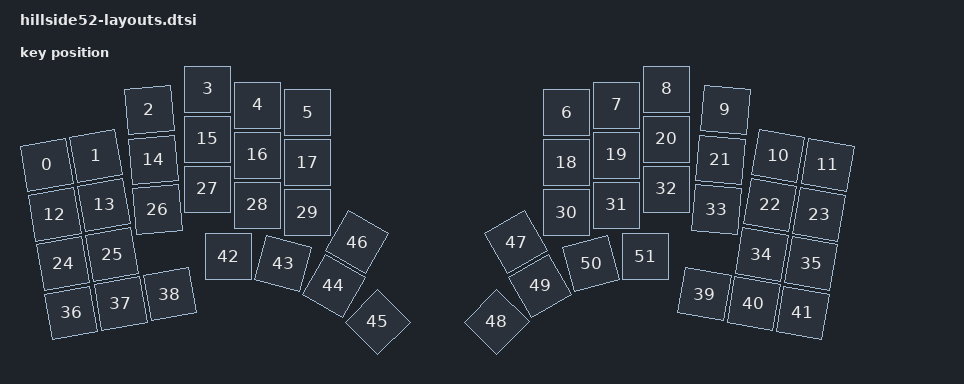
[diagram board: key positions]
#include <physical_layouts.dtsi>

// ========== 52 Key - 6 Column Layout ==========
/ {
    default_layout: default_layout {
        compatible = "zmk,physical-layout";
        display-name = "52 Key - 6 Column layout";
        transform = <&default_transform>;
        kscan = <&kscan0>;

        keys  //                     w   h    x    y     rot    rx    ry
            = <&key_physical_attrs 100 100    0  152 (-1000)    50   202>
            , <&key_physical_attrs 100 100   99  134 (-1000)   148   184>
            , <&key_physical_attrs 100 100  205   42  (-500)   255    92>
            , <&key_physical_attrs 100 100  322    0       0     0     0>
            , <&key_physical_attrs 100 100  422   32       0     0     0>
            , <&key_physical_attrs 100 100  522   47       0     0     0>
            , <&key_physical_attrs 100 100 1040   47       0     0     0>
            , <&key_physical_attrs 100 100 1140   32       0     0     0>
            , <&key_physical_attrs 100 100 1240    0       0     0     0>
            , <&key_physical_attrs 100 100 1357   42     500  1407    92>
            , <&key_physical_attrs 100 100 1463  134    1000  1513   184>
            , <&key_physical_attrs 100 100 1562  152    1000  1612   202>
            , <&key_physical_attrs 100 100   16  251 (-1000)    66   301>
            , <&key_physical_attrs 100 100  115  232 (-1000)   165   282>
            , <&key_physical_attrs 100 100  213  142  (-500)   263   192>
            , <&key_physical_attrs 100 100  322  100       0     0     0>
            , <&key_physical_attrs 100 100  422  132       0     0     0>
            , <&key_physical_attrs 100 100  522  147       0     0     0>
            , <&key_physical_attrs 100 100 1040  147       0     0     0>
            , <&key_physical_attrs 100 100 1140  132       0     0     0>
            , <&key_physical_attrs 100 100 1240  100       0     0     0>
            , <&key_physical_attrs 100 100 1348  142     500  1398   192>
            , <&key_physical_attrs 100 100 1447  232    1000  1497   282>
            , <&key_physical_attrs 100 100 1545  251    1000  1595   301>
            , <&key_physical_attrs 100 100   33  349 (-1000)    83   399>
            , <&key_physical_attrs 100 100  131  331 (-1000)   181   381>
            , <&key_physical_attrs 100 100  221  241  (-500)   271   291>
            , <&key_physical_attrs 100 100  322  200       0     0     0>
            , <&key_physical_attrs 100 100  422  232       0     0     0>
            , <&key_physical_attrs 100 100  522  247       0     0     0>
            , <&key_physical_attrs 100 100 1040  247       0     0     0>
            , <&key_physical_attrs 100 100 1140  232       0     0     0>
            , <&key_physical_attrs 100 100 1240  200       0     0     0>
            , <&key_physical_attrs 100 100 1340  241     500  1390   291>
            , <&key_physical_attrs 100 100 1430  331    1000  1480   381>
            , <&key_physical_attrs 100 100 1529  349    1000  1579   399>
            , <&key_physical_attrs 100 100   49  448 (-1000)    99   498>
            , <&key_physical_attrs 100 100  148  429 (-1000)   198   479>
            , <&key_physical_attrs 100 100  242  411 (-1000)   292   435>
            , <&key_physical_attrs 100 100 1320  411    1000  1370   435>
            , <&key_physical_attrs 100 100 1414  429    1000  1464   479>
            , <&key_physical_attrs 100 100 1512  448    1000  1562   498>
            , <&key_physical_attrs 100 100  363  335       0     0     0>
            , <&key_physical_attrs 100 100  473  349    1500   522   399>
            , <&key_physical_attrs 100 100  574  394    3000   624   444>
            , <&key_physical_attrs 100 100  662  466    4500   712   516>
            , <&key_physical_attrs 100 100  634  310    3000   684   335>
            , <&key_physical_attrs 100 100  927  310 (-3000)   977   335>
            , <&key_physical_attrs 100 100  900  466 (-4500)   950   516>
            , <&key_physical_attrs 100 100  987  394 (-3000)  1037   444>
            , <&key_physical_attrs 100 100 1089  349 (-1500)  1139   399>
            , <&key_physical_attrs 100 100 1198  335       0     0     0>
            ;
    };

    position_map {
        compatible = "zmk,physical-layout-position-map";
        complete;

        default_map: default_map {
            physical-layout = <&default_layout>;
            positions = <
                0  1  2  3  4  5  6  7  8  9  10 11
                12 13 14 15 16 17 18 19 20 21 22 23
                24 25 26 27 28 29 30 31 32 33 34 35
                36 37 38                   39 40 41 
                   42 43 44 45 46 47 48 49 50 51
            >;
        };
    };
};

// ========== 44 Key - 5 Column Layout ==========
/* / {
 *     alt_layout: alt_layout {
 *         compatible = "zmk,physical-layout";
 *         display-name = "44 Key - 5 Column layout";
 *         transform = <&default_transform>;
 *         kscan = <&kscan0>;
 *
 *         keys  //                     w   h    x    y     rot    rx    ry
 *             = <&key_physical_attrs 100 100    0  134 (-1000)    50   184>
 *             , <&key_physical_attrs 100 100  106   42  (-500)   156    92>
 *             , <&key_physical_attrs 100 100  223    0       0     0     0>
 *             , <&key_physical_attrs 100 100  323   32       0     0     0>
 *             , <&key_physical_attrs 100 100  423   47       0     0     0>
 *             , <&key_physical_attrs 100 100  941   47       0     0     0>
 *             , <&key_physical_attrs 100 100 1041   32       0     0     0>
 *             , <&key_physical_attrs 100 100 1141    0       0     0     0>
 *             , <&key_physical_attrs 100 100 1258   42     500  1308    92>
 *             , <&key_physical_attrs 100 100 1365  134    1000  1415   184>
 *             , <&key_physical_attrs 100 100   16  232 (-1000)    66   282>
 *             , <&key_physical_attrs 100 100  115  142  (-500)   165   192>
 *             , <&key_physical_attrs 100 100  223  100       0     0     0>
 *             , <&key_physical_attrs 100 100  323  132       0     0     0>
 *             , <&key_physical_attrs 100 100  423  147       0     0     0>
 *             , <&key_physical_attrs 100 100  941  147       0     0     0>
 *             , <&key_physical_attrs 100 100 1041  132       0     0     0>
 *             , <&key_physical_attrs 100 100 1141  100       0     0     0>
 *             , <&key_physical_attrs 100 100 1250  142     500  1300   192>
 *             , <&key_physical_attrs 100 100 1348  232    1000  1398   282>
 *             , <&key_physical_attrs 100 100   33  331 (-1000)    83   381>
 *             , <&key_physical_attrs 100 100  123  241  (-500)   173   291>
 *             , <&key_physical_attrs 100 100  223  200       0     0     0>
 *             , <&key_physical_attrs 100 100  323  232       0     0     0>
 *             , <&key_physical_attrs 100 100  423  247       0     0     0>
 *             , <&key_physical_attrs 100 100  941  247       0     0     0>
 *             , <&key_physical_attrs 100 100 1041  232       0     0     0>
 *             , <&key_physical_attrs 100 100 1141  200       0     0     0>
 *             , <&key_physical_attrs 100 100 1242  241     500  1292   291>
 *             , <&key_physical_attrs 100 100 1332  331    1000  1382   381>
 *             , <&key_physical_attrs 100 100   49  429 (-1000)    99   479>
 *             , <&key_physical_attrs 100 100  143  411 (-1000)   193   435>
 *             , <&key_physical_attrs 100 100 1221  411    1000  1271   435>
 *             , <&key_physical_attrs 100 100 1315  429    1000  1365   479>
 *             , <&key_physical_attrs 100 100  265  335       0     0     0>
 *             , <&key_physical_attrs 100 100  374  349    1500   424   399>
 *             , <&key_physical_attrs 100 100  476  394    3000   526   444>
 *             , <&key_physical_attrs 100 100  563  466    4500   613   516>
 *             , <&key_physical_attrs 100 100  536  310    3000   586   335>
 *             , <&key_physical_attrs 100 100  829  310 (-3000)   879   335>
 *             , <&key_physical_attrs 100 100  802  466 (-4500)   852   516>
 *             , <&key_physical_attrs 100 100  888  394 (-3000)   938   444>
 *             , <&key_physical_attrs 100 100  991  349 (-1500)  1041   399>
 *             , <&key_physical_attrs 100 100 1100  335       0     0     0>
 *             ;
 *     };
 * 
 *     position_map {
 *         compatible = "zmk,physical-layout-position-map";
 *         complete;
 * 
 *         alt_map: alt_map {
 *             physical-layout = <&alt_layout>;
 *             positions = <
 *                 0  1  2  3  4  5  6  7  8  9
 *                 10 11 12 13 14 15 16 17 18 19 
 *                 20 21 22 23 24 25 26 27 28 29 
 *                 30 31                   32 33 
 *                 34 35 36 37 38 39 40 41 42 43
 *             >;
 *         };
 *     };
 * };
 */











































// #############################################################################
// ## Generating A `physical-layout` & `physical-layout-position-map`
// #############################################################################
/* 
 * // #############################################################################
 * ## Generating A JSON Description From A PCB File
 * 
 * Go to `https://nickcoutsos.github.io/keymap-layout-tools/`:
 *   - Import 'Kicad PCB' to Load `hillside52.kicad_pcb`
 *   - Configure:
 *     - Flip Horizontal: No
 *     - Mirror Horizontal: Yes
 *     - Infer Key Size: No
 *     - Switch pattern: `^K\d+`
 *     - Switch spacing: `Choc (18mm x 17mm)`
 * 
 * ## Generating A Physical-Layout from JSON description From A PCB File
 *   - Generate Physical-Layout from JSON description: https://zmk-physical-layout-converter.streamlit.app/
 * // ########################################################################################################
 * // {"id":"hillside52","name":"Hillside52","layouts":{"default_layout":{"name":"Default Layout","layout":[{"row":0,"col":0,"x":0.079,"y":1.522,"r":-10,"rx":0.579,"ry":2.022},{"row":0,"col":1,"x":1.064,"y":1.338,"r":-10,"rx":1.564,"ry":1.838},{"row":0,"col":2,"x":2.128,"y":0.418,"r":-5,"rx":2.628,"ry":0.918},{"row":0,"col":3,"x":3.298,"y":0},{"row":0,"col":4,"x":4.298,"y":0.324},{"row":0,"col":5,"x":5.298,"y":0.471},{"row":0,"col":6,"x":10.476,"y":0.471},{"row":0,"col":7,"x":11.476,"y":0.324},{"row":0,"col":8,"x":12.476,"y":0},{"row":0,"col":9,"x":13.645,"y":0.418,"r":5,"rx":14.145,"ry":0.918},{"row":0,"col":10,"x":14.71,"y":1.338,"r":10,"rx":15.21,"ry":1.838},{"row":0,"col":11,"x":15.695,"y":1.522,"r":10,"rx":16.195,"ry":2.022},{"row":1,"col":0,"x":0.243,"y":2.507,"r":-10,"rx":0.743,"ry":3.007},{"row":1,"col":1,"x":1.228,"y":2.323,"r":-10,"rx":1.728,"ry":2.823},{"row":1,"col":2,"x":2.211,"y":1.415,"r":-5,"rx":2.711,"ry":1.915},{"row":1,"col":3,"x":3.298,"y":1},{"row":1,"col":4,"x":4.298,"y":1.324},{"row":1,"col":5,"x":5.298,"y":1.471},{"row":1,"col":6,"x":10.476,"y":1.471},{"row":1,"col":7,"x":11.476,"y":1.324},{"row":1,"col":8,"x":12.476,"y":1},{"row":1,"col":9,"x":13.563,"y":1.415,"r":5,"rx":14.063,"ry":1.915},{"row":1,"col":10,"x":14.546,"y":2.323,"r":10,"rx":15.046,"ry":2.823},{"row":1,"col":11,"x":15.531,"y":2.507,"r":10,"rx":16.031,"ry":3.007},{"row":2,"col":0,"x":0.407,"y":3.492,"r":-10,"rx":0.907,"ry":3.992},{"row":2,"col":1,"x":1.392,"y":3.308,"r":-10,"rx":1.892,"ry":3.808},{"row":2,"col":2,"x":2.293,"y":2.411,"r":-5,"rx":2.793,"ry":2.911},{"row":2,"col":3,"x":3.298,"y":2},{"row":2,"col":4,"x":4.298,"y":2.324},{"row":2,"col":5,"x":5.298,"y":2.471},{"row":2,"col":6,"x":10.476,"y":2.471},{"row":2,"col":7,"x":11.476,"y":2.324},{"row":2,"col":8,"x":12.476,"y":2},{"row":2,"col":9,"x":13.481,"y":2.411,"r":5,"rx":13.981,"ry":2.911},{"row":2,"col":10,"x":14.382,"y":3.308,"r":10,"rx":14.882,"ry":3.808},{"row":2,"col":11,"x":15.367,"y":3.492,"r":10,"rx":15.867,"ry":3.992},{"row":3,"col":0,"x":0.571,"y":4.477,"r":-10,"rx":1.071,"ry":4.977},{"row":3,"col":1,"x":1.556,"y":4.293,"r":-10,"rx":2.056,"ry":4.793},{"row":3,"col":2,"x":2.497,"y":4.11,"r":-10,"rx":2.997,"ry":4.348},{"row":3,"col":9,"x":13.276,"y":4.11,"r":10,"rx":13.776,"ry":4.348},{"row":3,"col":10,"x":14.218,"y":4.293,"r":10,"rx":14.718,"ry":4.793},{"row":3,"col":11,"x":15.203,"y":4.477,"r":10,"rx":15.703,"ry":4.977},{"row":4,"col":1,"x":3.713,"y":3.35},{"row":4,"col":2,"x":4.804,"y":3.493,"r":15,"rx":5.304,"ry":3.993},{"row":4,"col":3,"x":5.824,"y":3.944,"r":30,"rx":6.324,"ry":4.444},{"row":4,"col":4,"x":6.695,"y":4.658,"r":45,"rx":7.195,"ry":5.158},{"row":4,"col":5,"x":6.422,"y":3.098,"r":30,"rx":6.922,"ry":3.349},{"row":4,"col":6,"x":9.352,"y":3.097,"r":-30,"rx":9.852,"ry":3.349},{"row":4,"col":7,"x":9.079,"y":4.658,"r":-45,"rx":9.579,"ry":5.158},{"row":4,"col":8,"x":9.949,"y":3.944,"r":-30,"rx":10.449,"ry":4.444},{"row":4,"col":9,"x":10.97,"y":3.493,"r":-15,"rx":11.47,"ry":3.993},{"row":4,"col":10,"x":12.061,"y":3.35}]},"alt_5_column_layout":{"name":"Alternate 5 Column Layout","layout":[{"row":0,"col":1,"x":1.064,"y":1.338,"r":-10,"rx":1.564,"ry":1.838},{"row":0,"col":2,"x":2.128,"y":0.418,"r":-5,"rx":2.628,"ry":0.918},{"row":0,"col":3,"x":3.298,"y":0},{"row":0,"col":4,"x":4.298,"y":0.324},{"row":0,"col":5,"x":5.298,"y":0.471},{"row":0,"col":6,"x":10.476,"y":0.471},{"row":0,"col":7,"x":11.476,"y":0.324},{"row":0,"col":8,"x":12.476,"y":0},{"row":0,"col":9,"x":13.645,"y":0.418,"r":5,"rx":14.145,"ry":0.918},{"row":0,"col":10,"x":14.71,"y":1.338,"r":10,"rx":15.21,"ry":1.838},{"row":1,"col":1,"x":1.228,"y":2.323,"r":-10,"rx":1.728,"ry":2.823},{"row":1,"col":2,"x":2.211,"y":1.415,"r":-5,"rx":2.711,"ry":1.915},{"row":1,"col":3,"x":3.298,"y":1},{"row":1,"col":4,"x":4.298,"y":1.324},{"row":1,"col":5,"x":5.298,"y":1.471},{"row":1,"col":6,"x":10.476,"y":1.471},{"row":1,"col":7,"x":11.476,"y":1.324},{"row":1,"col":8,"x":12.476,"y":1},{"row":1,"col":9,"x":13.563,"y":1.415,"r":5,"rx":14.063,"ry":1.915},{"row":1,"col":10,"x":14.546,"y":2.323,"r":10,"rx":15.046,"ry":2.823},{"row":2,"col":1,"x":1.392,"y":3.308,"r":-10,"rx":1.892,"ry":3.808},{"row":2,"col":2,"x":2.293,"y":2.411,"r":-5,"rx":2.793,"ry":2.911},{"row":2,"col":3,"x":3.298,"y":2},{"row":2,"col":4,"x":4.298,"y":2.324},{"row":2,"col":5,"x":5.298,"y":2.471},{"row":2,"col":6,"x":10.476,"y":2.471},{"row":2,"col":7,"x":11.476,"y":2.324},{"row":2,"col":8,"x":12.476,"y":2},{"row":2,"col":9,"x":13.481,"y":2.411,"r":5,"rx":13.981,"ry":2.911},{"row":2,"col":10,"x":14.382,"y":3.308,"r":10,"rx":14.882,"ry":3.808},{"row":3,"col":1,"x":1.556,"y":4.293,"r":-10,"rx":2.056,"ry":4.793},{"row":3,"col":2,"x":2.497,"y":4.11,"r":-10,"rx":2.997,"ry":4.348},{"row":3,"col":9,"x":13.276,"y":4.11,"r":10,"rx":13.776,"ry":4.348},{"row":3,"col":10,"x":14.218,"y":4.293,"r":10,"rx":14.718,"ry":4.793},{"row":4,"col":1,"x":3.713,"y":3.35},{"row":4,"col":2,"x":4.804,"y":3.493,"r":15,"rx":5.304,"ry":3.993},{"row":4,"col":3,"x":5.824,"y":3.944,"r":30,"rx":6.324,"ry":4.444},{"row":4,"col":4,"x":6.695,"y":4.658,"r":45,"rx":7.195,"ry":5.158},{"row":4,"col":5,"x":6.422,"y":3.098,"r":30,"rx":6.922,"ry":3.349},{"row":4,"col":6,"x":9.352,"y":3.097,"r":-30,"rx":9.852,"ry":3.349},{"row":4,"col":7,"x":9.079,"y":4.658,"r":-45,"rx":9.579,"ry":5.158},{"row":4,"col":8,"x":9.949,"y":3.944,"r":-30,"rx":10.449,"ry":4.444},{"row":4,"col":9,"x":10.97,"y":3.493,"r":-15,"rx":11.47,"ry":3.993},{"row":4,"col":10,"x":12.061,"y":3.35}]}}}
*/ 
